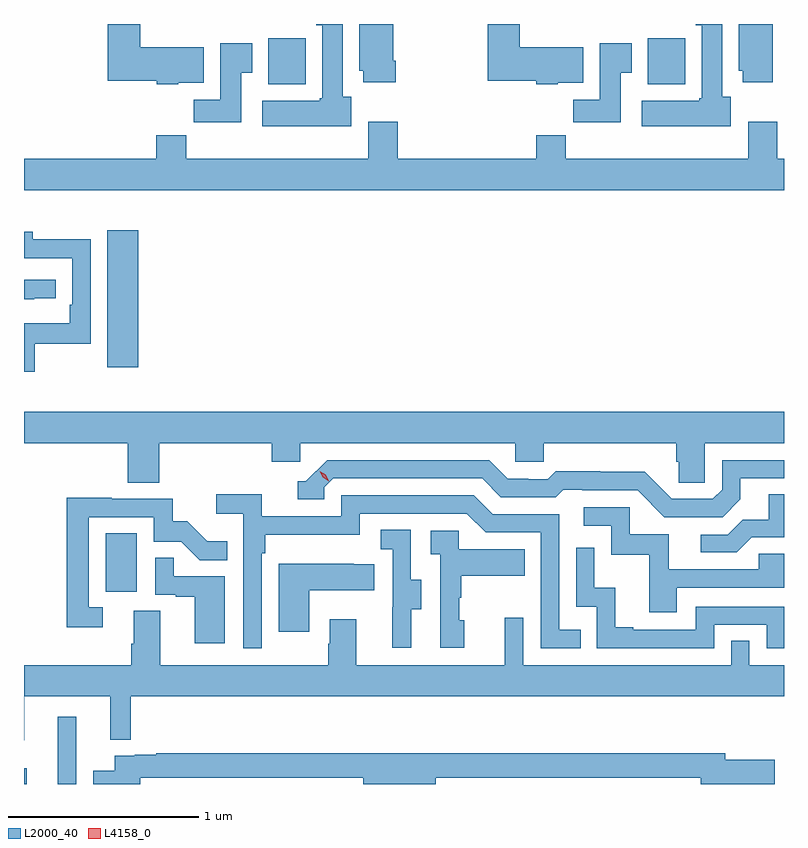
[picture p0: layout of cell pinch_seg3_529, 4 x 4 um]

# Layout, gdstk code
import gdstk
lib = gdstk.Library(unit=1e-6, precision=1e-09)
def R(c, l, rs):  # rectangles x0, y0, x1, y1
    for r in rs: c.add(gdstk.rectangle(r[:2], r[2:], *l))
def P(c, l, *ps):  # polygons
    for p in ps: c.add(gdstk.Polygon(p, *l))
L2000_40 = (2000, 40)
L4158_0 = (4158, 0)

pinch_seg3_529 = lib.new_cell('pinch_seg3_529')
R(pinch_seg3_529, L2000_40, [(1129.702,691.13,1129.717,691.213), (1129.88,691.13,1129.977,691.483), (1130.132,692.142,1130.296,692.449), (1130.141,693.324,1130.302,694.045), (1130.987,694.814,1131.184,695.056), (1132.985,694.814,1133.182,695.056)])
P(pinch_seg3_529, L2000_40, [(1133.644,695.13),(1133.465,695.13),(1133.465,694.884),(1133.486,694.884),(1133.486,694.824),(1133.644,694.824)],
  [(1133.422,694.746),(1133.377,694.746),(1133.377,695.13),(1133.237,695.13),(1133.237,695.123),(1133.27,695.123),(1133.27,694.74),(1133.257,694.74),(1133.257,694.726),(1132.953,694.726),(1132.953,694.592),(1133.422,694.592)],
  [(1132.512,694.82),(1132.645,694.82),(1132.645,695.008),(1132.312,695.008),(1132.312,695.13),(1132.142,695.13),(1132.142,694.832),(1132.398,694.832),(1132.398,694.814),(1132.512,694.814)],
  [(1131.424,694.746),(1131.379,694.746),(1131.379,695.13),(1131.239,695.13),(1131.239,695.123),(1131.272,695.123),(1131.272,694.74),(1131.259,694.74),(1131.259,694.726),(1130.955,694.726),(1130.955,694.592),(1131.424,694.592)],
  [(1131.659,694.936),(1131.646,694.936),(1131.646,695.13),(1131.467,695.13),(1131.467,694.884),(1131.488,694.884),(1131.488,694.824),(1131.659,694.824)],
  [(1130.514,694.82),(1130.647,694.82),(1130.647,695.008),(1130.314,695.008),(1130.314,695.13),(1130.144,695.13),(1130.144,694.832),(1130.4,694.832),(1130.4,694.814),(1130.514,694.814)],
  [(1132.843,694.873),(1132.9,694.873),(1132.9,695.029),(1132.733,695.029),(1132.733,694.732),(1132.594,694.732),(1132.594,694.614),(1132.843,694.614)],
  [(1130.845,694.873),(1130.902,694.873),(1130.902,695.029),(1130.735,695.029),(1130.735,694.732),(1130.596,694.732),(1130.596,694.614),(1130.845,694.614)],
  [(1133.702,694.42),(1133.666,694.42),(1133.666,694.615),(1133.513,694.615),(1133.513,694.42),(1132.553,694.42),(1132.553,694.544),(1132.397,694.544),(1132.397,694.42),(1131.668,694.42),(1131.668,694.615),(1131.515,694.615),(1131.515,694.42),(1130.555,694.42),(1130.555,694.544),(1130.399,694.544),(1130.399,694.42),(1129.702,694.42),(1129.702,694.256),(1133.702,694.256)],
  [(1129.759,693.447),(1130.052,693.447),(1130.052,693.998),(1129.747,693.998),(1129.747,694.036),(1129.702,694.036),(1129.702,693.897),(1129.956,693.897),(1129.956,693.652),(1129.943,693.652),(1129.943,693.556),(1129.702,693.556),(1129.702,693.3),(1129.759,693.3)],
  [(1129.757,693.687),(1129.87,693.687),(1129.87,693.783),(1129.702,693.783),(1129.702,693.682),(1129.757,693.682)],
  [(1130.414,692.924),(1131.005,692.924),(1131.005,692.826),(1131.156,692.826),(1131.156,692.924),(1132.287,692.924),(1132.287,692.826),(1132.437,692.826),(1132.437,692.924),(1133.135,692.924),(1133.135,692.826),(1133.149,692.826),(1133.149,692.716),(1133.286,692.716),(1133.286,692.924),(1133.702,692.924),(1133.702,693.088),(1129.702,693.088),(1129.702,692.924),(1130.249,692.924),(1130.249,692.716),(1130.414,692.716)],
  [(1133.473,692.629),(1133.473,692.739),(1133.702,692.739),(1133.702,692.835),(1133.376,692.835),(1133.376,692.679),(1133.328,692.631),(1133.112,692.631),(1132.97,692.773),(1132.734,692.773),(1132.734,692.776),(1132.501,692.776),(1132.459,692.733),(1132.356,692.733),(1132.356,692.736),(1132.249,692.736),(1132.15,692.835),(1131.297,692.835),(1131.186,692.724),(1131.143,692.724),(1131.143,692.628),(1131.282,692.628),(1131.282,692.691),(1131.33,692.739),(1132.113,692.739),(1132.212,692.64),(1132.501,692.64),(1132.54,692.679),(1132.639,692.679),(1132.639,692.676),(1132.932,692.676),(1133.073,692.535),(1133.379,692.535)],
  [(1130.952,692.345),(1130.972,692.345),(1130.972,692.441),(1131.468,692.441),(1131.468,692.553),(1132.032,692.553),(1132.131,692.454),(1132.422,692.454),(1132.422,691.845),(1132.631,691.845),(1132.631,691.941),(1132.518,691.941),(1132.518,692.55),(1132.168,692.55),(1132.069,692.649),(1131.372,692.649),(1131.372,692.538),(1130.954,692.538),(1130.954,692.654),(1130.715,692.654),(1130.715,692.552),(1130.856,692.552),(1130.856,691.845),(1130.952,691.845)],
  [(1133.533,692.43),(1133.702,692.43),(1133.702,692.654),(1133.621,692.654),(1133.621,692.522),(1133.486,692.522),(1133.406,692.442),(1133.265,692.442),(1133.265,692.349),(1133.452,692.349)],
  [(1130.116,692.061),(1130.043,692.061),(1130.043,692.535),(1130.385,692.535),(1130.385,692.406),(1130.529,692.406),(1130.627,692.308),(1130.771,692.308),(1130.771,692.407),(1130.667,692.407),(1130.56,692.514),(1130.484,692.514),(1130.484,692.631),(1130.165,692.631),(1130.165,692.636),(1129.927,692.636),(1129.927,691.956),(1130.116,691.956)],
  [(1133.137,692.163),(1133.702,692.163),(1133.702,692.343),(1133.569,692.343),(1133.569,692.259),(1133.095,692.259),(1133.095,692.445),(1132.89,692.445),(1132.89,692.586),(1132.647,692.586),(1132.647,692.49),(1132.794,692.49),(1132.794,692.337),(1132.993,692.337),(1132.993,692.034),(1133.137,692.034)],
  [(1131.739,692.05),(1131.793,692.05),(1131.793,692.205),(1131.738,692.205),(1131.738,692.468),(1131.579,692.468),(1131.579,692.365),(1131.642,692.365),(1131.642,692.061),(1131.641,692.061),(1131.641,691.848),(1131.739,691.848)],
  [(1132.018,691.992),(1131.993,691.992),(1131.993,692.111),(1132.003,692.111),(1132.003,692.225),(1132.337,692.225),(1132.337,692.365),(1131.99,692.365),(1131.99,692.463),(1131.843,692.463),(1131.843,692.339),(1131.894,692.339),(1131.894,691.848),(1132.018,691.848)],
  [(1133.334,691.968),(1133.61,691.968),(1133.61,691.845),(1133.702,691.845),(1133.702,692.064),(1133.238,692.064),(1133.238,691.941),(1132.909,691.941),(1132.909,691.954),(1132.814,691.954),(1132.814,692.162),(1132.704,692.162),(1132.704,692.374),(1132.608,692.374),(1132.608,692.064),(1132.716,692.064),(1132.716,691.845),(1133.334,691.845)],
  [(1130.758,692.223),(1130.489,692.223),(1130.489,692.321),(1130.394,692.321),(1130.394,692.127),(1130.501,692.127),(1130.501,692.115),(1130.6,692.115),(1130.6,691.872),(1130.758,691.872)],
  [(1131.202,692.15),(1131.545,692.15),(1131.545,692.287),(1131.437,692.287),(1131.437,692.29),(1131.044,692.29),(1131.044,691.932),(1131.202,691.932)],
  [(1129.703,691.592),(1130.156,691.592),(1130.156,691.363),(1130.264,691.363),(1130.264,691.592),(1133.702,691.592),(1133.702,691.756),(1133.52,691.756),(1133.52,691.883),(1133.424,691.883),(1133.424,691.756),(1132.329,691.756),(1132.329,692.005),(1132.232,692.005),(1132.232,691.756),(1131.451,691.756),(1131.451,691.996),(1131.311,691.996),(1131.311,691.868),(1131.304,691.868),(1131.304,691.756),(1130.419,691.756),(1130.419,692.042),(1130.279,692.042),(1130.279,691.868),(1130.267,691.868),(1130.267,691.756),(1129.702,691.756),(1129.702,691.359),(1129.703,691.359)],
  [(1130.315,691.162),(1131.488,691.162),(1131.488,691.13),(1131.868,691.13),(1131.868,691.162),(1133.264,691.162),(1133.264,691.13),(1133.653,691.13),(1133.653,691.257),(1133.392,691.257),(1133.392,691.291),(1130.398,691.291),(1130.398,691.284),(1130.284,691.284),(1130.284,691.278),(1130.18,691.278),(1130.18,691.201),(1130.066,691.201),(1130.066,691.13),(1130.315,691.13)])
P(pinch_seg3_529, L4158_0, [(1131.305,692.724),(1131.274,692.744),(1131.258,692.776),(1131.258,692.776),(1131.258,692.776),(1131.289,692.757),(1131.305,692.725),(1131.305,692.724)])

lib.write_gds('pinch_seg3_529.gds')
